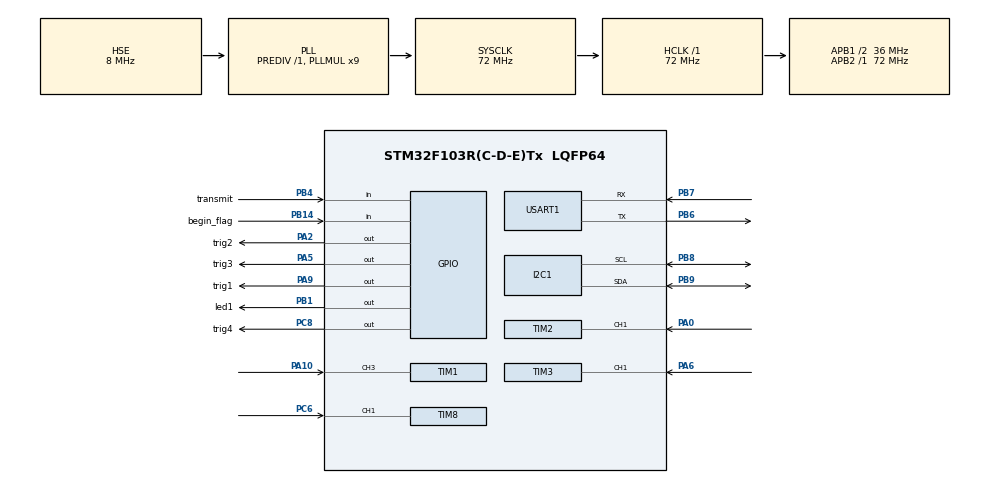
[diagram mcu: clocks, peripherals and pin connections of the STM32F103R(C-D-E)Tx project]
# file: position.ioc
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Dma.Request0=USART1_RX
Dma.Request1=USART1_TX
Dma.USART1_RX.0.Direction=DMA_PERIPH_TO_MEMORY
Dma.USART1_RX.0.Instance=DMA1_Channel5
Dma.USART1_RX.0.MemDataAlignment=DMA_MDATAALIGN_BYTE
Dma.USART1_RX.0.MemInc=DMA_MINC_ENABLE
Dma.USART1_RX.0.Mode=DMA_NORMAL
Dma.USART1_RX.0.PeriphDataAlignment=DMA_PDATAALIGN_BYTE
Dma.USART1_RX.0.PeriphInc=DMA_PINC_DISABLE
Dma.USART1_RX.0.Priority=DMA_PRIORITY_LOW
Dma.USART1_TX.1.Direction=DMA_MEMORY_TO_PERIPH
Dma.USART1_TX.1.Instance=DMA1_Channel4
Dma.USART1_TX.1.MemDataAlignment=DMA_MDATAALIGN_BYTE
Dma.USART1_TX.1.MemInc=DMA_MINC_ENABLE
Dma.USART1_TX.1.Mode=DMA_NORMAL
Dma.USART1_TX.1.PeriphDataAlignment=DMA_PDATAALIGN_BYTE
Dma.USART1_TX.1.PeriphInc=DMA_PINC_DISABLE
Dma.USART1_TX.1.Priority=DMA_PRIORITY_LOW
I2C1.I2C_Mode=I2C_Fast
Mcu.Family=STM32F1
Mcu.Name=STM32F103R(C-D-E)Tx
Mcu.Package=LQFP64
NVIC.DMA1_Channel4_IRQn=true\:0\:0\:false\:false\:true\:false\:true\:true
NVIC.DMA1_Channel5_IRQn=true\:0\:0\:false\:false\:true\:false\:true\:true
NVIC.PriorityGroup=NVIC_PRIORITYGROUP_4
NVIC.TIM1_CC_IRQn=true\:0\:0\:false\:false\:true\:true\:true\:true
NVIC.TIM2_IRQn=true\:0\:0\:false\:false\:true\:true\:true\:true
NVIC.TIM3_IRQn=true\:0\:0\:false\:false\:true\:true\:true\:true
NVIC.TIM6_IRQn=true\:0\:0\:false\:false\:true\:true\:true\:true
NVIC.TIM8_CC_IRQn=true\:0\:0\:false\:false\:true\:true\:true\:true
NVIC.USART1_IRQn=true\:0\:0\:false\:false\:true\:true\:true\:true
PA0-WKUP.Signal=S_TIM2_CH1_ETR
PA10.Signal=S_TIM1_CH3
PA13.Mode=Serial_Wire
PA13.Signal=SYS_JTMS-SWDIO
PA14.Mode=Serial_Wire
PA14.Signal=SYS_JTCK-SWCLK
PA2.GPIO_Label=trig2
PA2.Signal=GPIO_Output
PA5.GPIO_Label=trig3
PA5.Signal=GPIO_Output
PA6.Signal=S_TIM3_CH1
PA9.GPIO_Label=trig1
PA9.Signal=GPIO_Output
PB1.GPIO_Label=led1
PB1.PinState=GPIO_PIN_RESET
PB1.Signal=GPIO_Output
PB14.GPIO_Label=begin_flag
PB14.GPIO_PuPd=GPIO_PULLDOWN
PB14.Signal=GPIO_Input
PB4.GPIO_Label=transmit
PB4.GPIO_PuPd=GPIO_PULLDOWN
PB4.Signal=GPIO_Input
PB6.Mode=Asynchronous
PB6.Signal=USART1_TX
PB7.Mode=Asynchronous
PB7.Signal=USART1_RX
PB8.Mode=I2C
PB8.Signal=I2C1_SCL
PB9.Mode=I2C
PB9.Signal=I2C1_SDA
PC14-OSC32_IN.Mode=LSE-External-Oscillator
PC14-OSC32_IN.Signal=RCC_OSC32_IN
PC15-OSC32_OUT.Mode=LSE-External-Oscillator
PC15-OSC32_OUT.Signal=RCC_OSC32_OUT
PC6.Signal=S_TIM8_CH1
PC8.GPIO_Label=trig4
PC8.Signal=GPIO_Output
PD0-OSC_IN.Mode=HSE-External-Oscillator
PD0-OSC_IN.Signal=RCC_OSC_IN
PD1-OSC_OUT.Mode=HSE-External-Oscillator
PD1-OSC_OUT.Signal=RCC_OSC_OUT
ProjectManager.HeapSize=0x200
ProjectManager.StackSize=0x400
ProjectManager.TargetToolchain=STM32CubeIDE
RCC.AHBFreq_Value=72000000
RCC.APB1CLKDivider=RCC_HCLK_DIV2
RCC.APB1Freq_Value=36000000
RCC.APB1TimFreq_Value=72000000
RCC.APB2Freq_Value=72000000
RCC.APB2TimFreq_Value=72000000
RCC.HCLKFreq_Value=72000000
RCC.PLLMUL=RCC_PLL_MUL9
RCC.PLLSourceVirtual=RCC_PLLSOURCE_HSE
RCC.SYSCLKFreq_VALUE=72000000
RCC.SYSCLKSource=RCC_SYSCLKSOURCE_PLLCLK
RCC.USBFreq_Value=72000000
SH.S_TIM1_CH3.0=TIM1_CH3,Input_Capture3_from_TI3
SH.S_TIM2_CH1_ETR.0=TIM2_CH1,Input_Capture1_from_TI1
SH.S_TIM3_CH1.0=TIM3_CH1,Input_Capture1_from_TI1
SH.S_TIM8_CH1.0=TIM8_CH1,Input_Capture1_from_TI1
TIM1.Channel-Input_Capture3_from_TI3=TIM_CHANNEL_3
TIM1.Channel-Input_Capture4_from_TI3_63=TIM_CHANNEL_4
TIM1.ICFilter_CH3=15
TIM1.ICPolarity_CH4=TIM_INPUTCHANNELPOLARITY_FALLING
TIM1.Prescaler=72-1
TIM2.Channel-Input_Capture1_from_TI1=TIM_CHANNEL_1
TIM2.Channel-Input_Capture2_from_TI1_63=TIM_CHANNEL_2
TIM2.ICFilter_CH1=15
TIM2.ICPolarity_CH2=TIM_INPUTCHANNELPOLARITY_FALLING
TIM2.Prescaler=72-1
TIM3.Channel-Input_Capture1_from_TI1=TIM_CHANNEL_1
TIM3.Channel-Input_Capture2_from_TI1_63=TIM_CHANNEL_2
TIM3.ICPolarity_CH2=TIM_INPUTCHANNELPOLARITY_FALLING
TIM3.Prescaler=72-1
TIM6.Period=599
TIM6.Prescaler=7199
TIM8.Channel-Input_Capture1_from_TI1=TIM_CHANNEL_1
TIM8.Channel-Input_Capture2_from_TI1_63=TIM_CHANNEL_2
TIM8.ICPolarity_CH1=TIM_INPUTCHANNELPOLARITY_RISING
TIM8.ICPolarity_CH2=TIM_INPUTCHANNELPOLARITY_FALLING
TIM8.Prescaler=72-1
USART1.VirtualMode=VM_ASYNC
VP_TIM1_VS_ClockSourceINT.Mode=Internal
VP_TIM1_VS_indirect_ch3.Mode=Input_Capture4_from_TI3_63
VP_TIM2_VS_ClockSourceINT.Mode=Internal
VP_TIM2_VS_indirect_ch1.Mode=Input_Capture2_from_TI1_63
VP_TIM3_VS_ClockSourceINT.Mode=Internal
VP_TIM3_VS_indirect_ch1.Mode=Input_Capture2_from_TI1_63
VP_TIM6_VS_ClockSourceINT.Mode=Enable_Timer
VP_TIM8_VS_ClockSourceINT.Mode=Internal
VP_TIM8_VS_indirect_ch1.Mode=Input_Capture2_from_TI1_63
board=custom

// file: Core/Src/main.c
/* USER CODE BEGIN Header */
/**
  ******************************************************************************
  * @file           : main.c
  * @brief          : Main program body
  ******************************************************************************
  * @attention
  *
  * Copyright (c) 2025 STMicroelectronics.
  * All rights reserved.
  *
  * This software is licensed under terms that can be found in the LICENSE file
  * in the root directory of this software component.
  * If no LICENSE file comes with this software, it is provided AS-IS.
  *
  ******************************************************************************
  */
/* USER CODE END Header */
#include "main.h"
#include "dma.h"
#include "i2c.h"
#include "tim.h"
#include "usart.h"
#include "gpio.h"

/* USER CODE BEGIN Includes */
#include"oled.h"
#include <stdbool.h>
#include<stdio.h>
#include"transmit.h"
/* USER CODE END Includes */

/* USER CODE BEGIN PV */
     bool begin_flag=true;
     bool begin_game_flag=true;
     bool begin_transmit=false;
     extern DMA_HandleTypeDef hdma_usart1_rx;
 //    char temp[10];
     float temperature=28.0;
 	float speed;
int count;
void HAL_TIM_PeriodElapsedCallback(TIM_HandleTypeDef *htim){
	if(htim==&htim6){
     begin_flag=true;

	}
}
int upedge[4],downedge[4];
float distance[4];
void HAL_TIM_IC_CaptureCallback(TIM_HandleTypeDef *htim){

	if(htim==&htim1&&htim->Channel==HAL_TIM_ACTIVE_CHANNEL_4){
		upedge[0]=HAL_TIM_ReadCapturedValue(htim, TIM_CHANNEL_3);
		downedge[0]=HAL_TIM_ReadCapturedValue(htim, TIM_CHANNEL_4);
		distance[0]=((downedge[0]-upedge[0])*speed/2000000);

	}
	else if(htim==&htim2&&htim->Channel==HAL_TIM_ACTIVE_CHANNEL_2){
		upedge[1]=HAL_TIM_ReadCapturedValue(htim, TIM_CHANNEL_1);
		downedge[1]=HAL_TIM_ReadCapturedValue(htim, TIM_CHANNEL_2);
		distance[1]=((downedge[1]-upedge[1])*speed/2000000);

	}
	else if(htim==&htim3&&htim->Channel==HAL_TIM_ACTIVE_CHANNEL_2){
			upedge[2]=HAL_TIM_ReadCapturedValue(htim, TIM_CHANNEL_1);
			downedge[2]=HAL_TIM_ReadCapturedValue(htim, TIM_CHANNEL_2);
			distance[2]=((downedge[2]-upedge[2])*speed/2000000);

		}
	else if(htim==&htim8&&htim->Channel==HAL_TIM_ACTIVE_CHANNEL_2){
			upedge[3]=HAL_TIM_ReadCapturedValue(htim, TIM_CHANNEL_1);
			downedge[3]=HAL_TIM_ReadCapturedValue(htim, TIM_CHANNEL_2);
			distance[3]=((downedge[3]-upedge[3])*speed/2000000);//单位：米

		}

}
//void HAL_UARTEx_RxEventCallback(UART_HandleTypeDef *huart, uint16_t Size){
//
//	if(huart==&huart1)
//	{
//
//temperature=stringToFloat(temp);
//	if(temperature<=22||temperature>40)temperature=28.0;
//
//	}
//}

/* USER CODE END PV */

void SystemClock_Config(void);

int main(void)
{

  /* MCU Configuration--------------------------------------------------------*/

  /* Reset of all peripherals, Initializes the Flash interface and the Systick. */
  HAL_Init();

  /* Configure the system clock */
  SystemClock_Config();

  /* Initialize all configured peripherals */
  MX_GPIO_Init();
  MX_DMA_Init();
  MX_TIM1_Init();
  MX_TIM2_Init();
  MX_TIM3_Init();
  MX_TIM8_Init();
  MX_TIM6_Init();
  MX_I2C1_Init();
  MX_USART1_UART_Init();
  /* USER CODE BEGIN 2 */
  HAL_Delay(20);
    OLED_Init();
    HAL_Delay(20);
//  OLED_NewFrame();
//  	OLED_PrintString(13, 0 ,"wait for data" , &font16x16, OLED_COLOR_NORMAL);
//  	 OLED_ShowFrame();
    HAL_GPIO_WritePin(led1_GPIO_Port, led1_Pin, GPIO_PIN_SET);
//    HAL_UART_Receive_DMA(&huart1, temp, sizeof(temp));
//
//    __HAL_DMA_DISABLE_IT(&hdma_usart1_rx,DMA_IT_HT);

HAL_TIM_Base_Start(&htim1);
HAL_TIM_IC_Start(&htim1, TIM_CHANNEL_3);
HAL_TIM_IC_Start_IT(&htim1,TIM_CHANNEL_4);
HAL_TIM_Base_Start(&htim2);
HAL_TIM_IC_Start(&htim2, TIM_CHANNEL_1);
HAL_TIM_IC_Start_IT(&htim2, TIM_CHANNEL_2);
HAL_TIM_Base_Start(&htim3);
HAL_TIM_IC_Start(&htim3, TIM_CHANNEL_1);
HAL_TIM_IC_Start_IT(&htim3, TIM_CHANNEL_2);
HAL_TIM_Base_Start(&htim8);
HAL_TIM_IC_Start(&htim8, TIM_CHANNEL_1);
HAL_TIM_IC_Start_IT(&htim8,TIM_CHANNEL_2);
HAL_TIM_Base_Start_IT(&htim6);
	speed=331.4+0.6*temperature;

  /* USER CODE END 2 */

  /* Infinite loop */
  /* USER CODE BEGIN WHILE */
  while (1)
  {if(!begin_game_flag&&HAL_GPIO_ReadPin(begin_flag_GPIO_Port, begin_flag_Pin)==GPIO_PIN_SET){
	  begin_game_flag=true;
	  HAL_TIM_Base_Start_IT(&htim6);
  }
  if(!begin_transmit&&HAL_GPIO_ReadPin(transmit_GPIO_Port, transmit_Pin)==GPIO_PIN_SET){
	  begin_transmit=true;
  }
  if(begin_transmit&&HAL_GPIO_ReadPin(transmit_GPIO_Port, transmit_Pin)==GPIO_PIN_RESET){
	  begin_transmit=false;
  }

	  if(begin_flag){
		if(begin_transmit) Send_Floats( distance[0],distance[1], distance[2],distance[3]);
		 count++;
		   static char buffer22[16];
			   static char buffer23[16];
			   static char buffer24[16];
			   static char buffer25[16];
					 snprintf(buffer22, sizeof(buffer22), "%.2fm", distance[0]);
					 snprintf(buffer23, sizeof(buffer23), "%.2fm", distance[1]);
					 snprintf(buffer24, sizeof(buffer24), "%.2fm", distance[2]);
					 snprintf(buffer25, sizeof(buffer25), "%.2fm", distance[3]);
				 OLED_NewFrame();
					OLED_PrintString(13,0 , buffer22, &font16x16, OLED_COLOR_NORMAL);
					OLED_PrintString(13, 15 , buffer23, &font16x16, OLED_COLOR_NORMAL);
					OLED_PrintString(13, 30 , buffer24, &font16x16, OLED_COLOR_NORMAL);
				OLED_PrintString(13, 45 , buffer25, &font16x16, OLED_COLOR_NORMAL);
				 OLED_ShowFrame();
		HAL_GPIO_WritePin(trig1_GPIO_Port,trig1_Pin, GPIO_PIN_SET);
		HAL_Delay(2);
		HAL_GPIO_WritePin(trig1_GPIO_Port,trig1_Pin, GPIO_PIN_RESET);
	     __HAL_TIM_SET_COUNTER(&htim1,0);

	 	HAL_GPIO_WritePin(trig2_GPIO_Port,trig2_Pin, GPIO_PIN_SET);
	 	HAL_Delay(2);
	 	HAL_GPIO_WritePin(trig2_GPIO_Port,trig2_Pin, GPIO_PIN_RESET);
	      __HAL_TIM_SET_COUNTER(&htim2,0);

	  	HAL_GPIO_WritePin(trig3_GPIO_Port,trig3_Pin, GPIO_PIN_SET);
	  	HAL_Delay(2);
	  	HAL_GPIO_WritePin(trig3_GPIO_Port,trig3_Pin, GPIO_PIN_RESET);
	       __HAL_TIM_SET_COUNTER(&htim3,0);

	   	HAL_GPIO_WritePin(trig4_GPIO_Port,trig4_Pin, GPIO_PIN_SET);
	   	HAL_Delay(2);
	   	HAL_GPIO_WritePin(trig4_GPIO_Port,trig4_Pin, GPIO_PIN_RESET);
	        __HAL_TIM_SET_COUNTER(&htim8,0);
	  begin_flag=false;
	  }
    /* USER CODE END WHILE */

  }
}

void SystemClock_Config(void)
{
  RCC_OscInitTypeDef RCC_OscInitStruct = {0};
  RCC_ClkInitTypeDef RCC_ClkInitStruct = {0};

  /** Initializes the RCC Oscillators according to the specified parameters
  * in the RCC_OscInitTypeDef structure.
  */
  RCC_OscInitStruct.OscillatorType = RCC_OSCILLATORTYPE_HSE;
  RCC_OscInitStruct.HSEState = RCC_HSE_ON;
  RCC_OscInitStruct.HSEPredivValue = RCC_HSE_PREDIV_DIV1;
  RCC_OscInitStruct.HSIState = RCC_HSI_ON;
  RCC_OscInitStruct.PLL.PLLState = RCC_PLL_ON;
  RCC_OscInitStruct.PLL.PLLSource = RCC_PLLSOURCE_HSE;
  RCC_OscInitStruct.PLL.PLLMUL = RCC_PLL_MUL9;
  if (HAL_RCC_OscConfig(&RCC_OscInitStruct) != HAL_OK)
  {
    Error_Handler();
  }

  /** Initializes the CPU, AHB and APB buses clocks
  */
  RCC_ClkInitStruct.ClockType = RCC_CLOCKTYPE_HCLK|RCC_CLOCKTYPE_SYSCLK
                              |RCC_CLOCKTYPE_PCLK1|RCC_CLOCKTYPE_PCLK2;
  RCC_ClkInitStruct.SYSCLKSource = RCC_SYSCLKSOURCE_PLLCLK;
  RCC_ClkInitStruct.AHBCLKDivider = RCC_SYSCLK_DIV1;
  RCC_ClkInitStruct.APB1CLKDivider = RCC_HCLK_DIV2;
  RCC_ClkInitStruct.APB2CLKDivider = RCC_HCLK_DIV1;

  if (HAL_RCC_ClockConfig(&RCC_ClkInitStruct, FLASH_LATENCY_2) != HAL_OK)
  {
    Error_Handler();
  }
}

void Error_Handler(void)
{
  __disable_irq();
  while (1)
  {
  }
}
